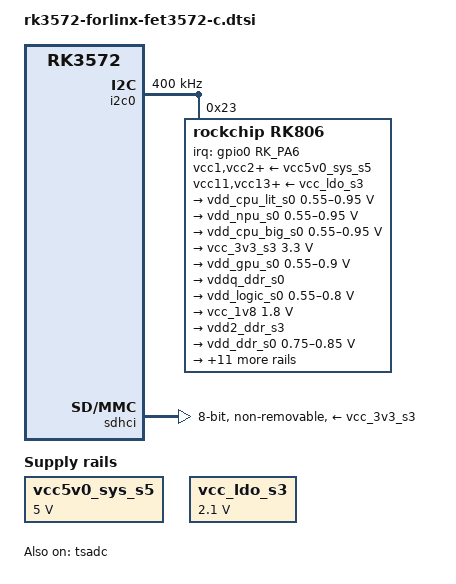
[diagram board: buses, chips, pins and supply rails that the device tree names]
// SPDX-License-Identifier: (GPL-2.0+ OR MIT)
/*
 * Copyright (c) 2025 Forlinx Embedded Tech. Co., Ltd
 * Copyright (c) 2026 Cunhao Lu <1579567540@qq.com>
 */

#include <dt-bindings/gpio/gpio.h>
#include <dt-bindings/pinctrl/rockchip.h>
#include "rk3572.dtsi"
#include "rk3572-opp.dtsi"

/ {
	compatible = "forlinx,fet3572-c", "rockchip,rk3572";

	vcc5v0_sys_s5: regulator-vcc5v0-sys-s5 {
		compatible = "regulator-fixed";
		regulator-always-on;
		regulator-boot-on;
		regulator-max-microvolt = <5000000>;
		regulator-min-microvolt = <5000000>;
		regulator-name = "vcc5v0_sys_s5";
	};

	vcc_ldo_s3: regulator-vcc-ldo-s3 {
		compatible = "regulator-fixed";
		regulator-always-on;
		regulator-boot-on;
		regulator-max-microvolt = <2100000>;
		regulator-min-microvolt = <2100000>;
		regulator-name = "vcc_ldo_s3";
	};
};

&cpu_b0 {
	cpu-supply = <&vdd_cpu_big_s0>;
};

&cpu_l0 {
	cpu-supply = <&vdd_cpu_lit_s0>;
};

&cpu_l4 {
	cpu-supply = <&vdd_cpu_lit_s0>;
};

&i2c0 {
	clock-frequency = <400000>;

	status = "okay";

	rk806: pmic@23 {
		compatible = "rockchip,rk806";
		reg = <0x23>;
		#gpio-cells = <2>;
		gpio-controller;
		interrupt-parent = <&gpio0>;
		interrupts = <RK_PA6 IRQ_TYPE_LEVEL_LOW>;
		pinctrl-0 = <&pmic_int>;
		pinctrl-names = "default";
		system-power-controller;
		vcc1-supply = <&vcc5v0_sys_s5>;
		vcc2-supply = <&vcc5v0_sys_s5>;
		vcc3-supply = <&vcc5v0_sys_s5>;
		vcc4-supply = <&vcc5v0_sys_s5>;
		vcc5-supply = <&vcc5v0_sys_s5>;
		vcc6-supply = <&vcc5v0_sys_s5>;
		vcc7-supply = <&vcc5v0_sys_s5>;
		vcc8-supply = <&vcc5v0_sys_s5>;
		vcc9-supply = <&vcc5v0_sys_s5>;
		vcc10-supply = <&vcc5v0_sys_s5>;
		vcc11-supply = <&vcc_ldo_s3>;
		vcc12-supply = <&vcc5v0_sys_s5>;
		vcc13-supply = <&vcc_ldo_s3>;
		vcc14-supply = <&vcc_ldo_s3>;
		vcca-supply = <&vcc5v0_sys_s5>;

		regulators {
			vdd_cpu_lit_s0: dcdc-reg1 {
				regulator-always-on;
				regulator-boot-on;
				regulator-enable-ramp-delay = <400>;
				regulator-max-microvolt = <950000>;
				regulator-min-microvolt = <550000>;
				regulator-name = "vdd_cpu_lit_s0";
				regulator-ramp-delay = <12500>;

				regulator-state-mem {
					regulator-off-in-suspend;
				};
			};

			vdd_npu_s0: dcdc-reg2 {
				regulator-boot-on;
				regulator-enable-ramp-delay = <400>;
				regulator-max-microvolt = <950000>;
				regulator-min-microvolt = <550000>;
				regulator-name = "vdd_npu_s0";
				regulator-ramp-delay = <12500>;

				regulator-state-mem {
					regulator-off-in-suspend;
				};
			};

			vdd_cpu_big_s0: dcdc-reg3 {
				regulator-always-on;
				regulator-boot-on;
				regulator-max-microvolt = <950000>;
				regulator-min-microvolt = <550000>;
				regulator-name = "vdd_cpu_big_s0";
				regulator-ramp-delay = <12500>;

				regulator-state-mem {
					regulator-off-in-suspend;
					regulator-suspend-microvolt = <750000>;
				};
			};

			vcc_3v3_s3: dcdc-reg4 {
				regulator-always-on;
				regulator-boot-on;
				regulator-max-microvolt = <3300000>;
				regulator-min-microvolt = <3300000>;
				regulator-name = "vcc_3v3_s3";

				regulator-state-mem {
					regulator-on-in-suspend;
					regulator-suspend-microvolt = <3300000>;
				};
			};

			vdd_gpu_s0: dcdc-reg5 {
				regulator-always-on;
				regulator-boot-on;
				regulator-enable-ramp-delay = <400>;
				regulator-max-microvolt = <900000>;
				regulator-min-microvolt = <550000>;
				regulator-name = "vdd_gpu_s0";
				regulator-ramp-delay = <12500>;

				regulator-state-mem {
					regulator-off-in-suspend;
				};
			};

			vddq_ddr_s0: dcdc-reg6 {
				regulator-always-on;
				regulator-boot-on;
				regulator-name = "vddq_ddr_s0";

				regulator-state-mem {
					regulator-off-in-suspend;
				};
			};

			vdd_logic_s0: dcdc-reg7 {
				regulator-always-on;
				regulator-boot-on;
				regulator-max-microvolt = <800000>;
				regulator-min-microvolt = <550000>;
				regulator-name = "vdd_logic_s0";

				regulator-state-mem {
					regulator-off-in-suspend;
				};
			};

			vcc_1v8: dcdc-reg8 {
				regulator-always-on;
				regulator-boot-on;
				regulator-max-microvolt = <1800000>;
				regulator-min-microvolt = <1800000>;
				regulator-name = "vcc_1v8";

				regulator-state-mem {
					regulator-off-in-suspend;
					regulator-suspend-microvolt = <1800000>;
				};
			};

			vdd2_ddr_s3: dcdc-reg9 {
				regulator-always-on;
				regulator-boot-on;
				regulator-name = "vdd2_ddr_s3";

				regulator-state-mem {
					regulator-on-in-suspend;
				};
			};

			vdd_ddr_s0: dcdc-reg10 {
				regulator-always-on;
				regulator-boot-on;
				regulator-max-microvolt = <850000>;
				regulator-min-microvolt = <750000>;
				regulator-name = "vdd_ddr_s0";

				regulator-state-mem {
					regulator-off-in-suspend;
					regulator-suspend-microvolt = <800000>;
				};
			};

			vdd_0v75_s3: nldo-reg1 {
				regulator-always-on;
				regulator-boot-on;
				regulator-max-microvolt = <750000>;
				regulator-min-microvolt = <750000>;
				regulator-name = "vdd_0v75_s3";

				regulator-state-mem {
					regulator-on-in-suspend;
					regulator-suspend-microvolt = <750000>;
				};
			};

			vdda_0v85_s0: nldo-reg2 {
				regulator-always-on;
				regulator-boot-on;
				regulator-max-microvolt = <850000>;
				regulator-min-microvolt = <850000>;
				regulator-name = "vdd_0v85_s0";

				regulator-state-mem {
					regulator-off-in-suspend;
				};
			};

			vdda_hdmi_s0: nldo-reg3 {
				regulator-always-on;
				regulator-boot-on;
				regulator-max-microvolt = <837500>;
				regulator-min-microvolt = <837500>;
				regulator-name = "vdda_hdmi_s0";

				regulator-state-mem {
					regulator-off-in-suspend;
				};
			};

			vdda_ddr_pll_s0: nldo-reg4 {
				regulator-always-on;
				regulator-boot-on;
				regulator-max-microvolt = <850000>;
				regulator-min-microvolt = <850000>;
				regulator-name = "vdda_ddr_pll_s0";

				regulator-state-mem {
					regulator-off-in-suspend;
				};
			};

			vdda_0v75_s0: nldo-reg5 {
				regulator-always-on;
				regulator-boot-on;
				regulator-max-microvolt = <750000>;
				regulator-min-microvolt = <750000>;
				regulator-name = "vdda_0v75_s0";

				regulator-state-mem {
					regulator-off-in-suspend;
				};
			};

			vcc_1v8_s3: pldo-reg1 {
				regulator-always-on;
				regulator-boot-on;
				regulator-max-microvolt = <1800000>;
				regulator-min-microvolt = <1800000>;
				regulator-name = "vcc_1v8_s3";

				regulator-state-mem {
					regulator-on-in-suspend;
					regulator-suspend-microvolt = <1800000>;
				};
			};

			vccio_1v8_s0: pldo-reg2 {
				regulator-always-on;
				regulator-boot-on;
				regulator-max-microvolt = <1800000>;
				regulator-min-microvolt = <1800000>;
				regulator-name = "vccio_1v8_s0";

				regulator-state-mem {
					regulator-off-in-suspend;
				};
			};

			vdda_1v2_s0: pldo-reg3 {
				regulator-always-on;
				regulator-boot-on;
				regulator-max-microvolt = <1200000>;
				regulator-min-microvolt = <1200000>;
				regulator-name = "vdda_1v2_s0";

				regulator-state-mem {
					regulator-off-in-suspend;
				};
			};

			vcc3v3_sd_s0: pldo-reg4 {
				regulator-always-on;
				regulator-boot-on;
				regulator-max-microvolt = <3300000>;
				regulator-min-microvolt = <3300000>;
				regulator-name = "vcc3v3_sd_s0";

				regulator-state-mem {
					regulator-off-in-suspend;
				};
			};

			vccio_sd_s0: pldo-reg5 {
				regulator-always-on;
				regulator-boot-on;
				regulator-max-microvolt = <3300000>;
				regulator-min-microvolt = <1800000>;
				regulator-name = "vccio_sd_s0";

				regulator-state-mem {
					regulator-off-in-suspend;
				};
			};

			vcca1v8_pldo6_s3: pldo-reg6 {
				regulator-always-on;
				regulator-boot-on;
				regulator-max-microvolt = <1800000>;
				regulator-min-microvolt = <1800000>;
				regulator-name = "vcca1v8_pldo6_s3";

				regulator-state-mem {
					regulator-on-in-suspend;
					regulator-suspend-microvolt = <1800000>;
				};
			};
		};
	};
};

&pinctrl {
	pmic {
		pmic_int: pmic-int {
			rockchip,pins = <0 RK_PA6 RK_FUNC_GPIO &pcfg_pull_up>;
		};
	};
};

&sdhci {
	bus-width = <8>;
	max-frequency = <200000000>;
	mmc-hs400-1_8v;
	mmc-hs400-enhanced-strobe;
	no-sd;
	no-sdio;
	non-removable;
	pinctrl-0 = <&emmc_rstnout_pins &emmc_bus8_pins &emmc_clk_pins
		    &emmc_cmd_pins &emmc_strb_pins>;
	pinctrl-names = "default";
	vmmc-supply = <&vcc_3v3_s3>;
	vqmmc-supply = <&vcc_1v8_s3>;

	status = "okay";
};

&tsadc {
	status = "okay";
};
